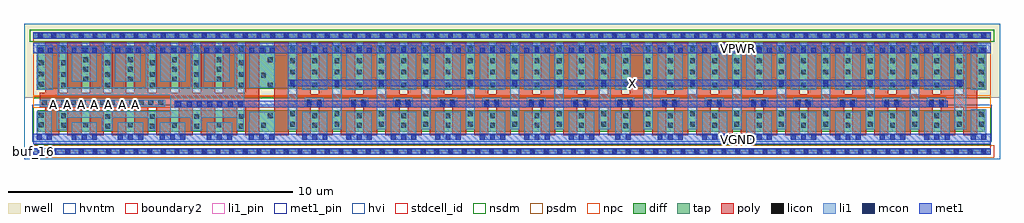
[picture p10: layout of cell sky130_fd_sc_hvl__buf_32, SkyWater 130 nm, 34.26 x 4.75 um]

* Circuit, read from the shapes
.subckt sky130_fd_sc_hvl__buf_32 A VGND VNB VPB VPWR X
XM1 n1 A VGND VNB sky130_fd_pr__nfet_g5v0d10v5 w=0.75 l=0.5 m=10
XM2 X n1 VGND VNB sky130_fd_pr__nfet_g5v0d10v5 w=0.75 l=0.5 m=32
XM3 n1 A VPWR VPB sky130_fd_pr__pfet_g5v0d10v5 w=1.5 l=0.5 m=10
XM4 X n1 VPWR VPB sky130_fd_pr__pfet_g5v0d10v5 w=1.5 l=0.5 m=32
.ends

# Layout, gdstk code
import gdstk
lib = gdstk.Library(unit=1e-6, precision=1e-09)
def R(c, l, rs):  # rectangles x0, y0, x1, y1
    for r in rs: c.add(gdstk.rectangle(r[:2], r[2:], *l))
def A(c, l, x, y, w, h, nx, ny, dx, dy):  # array of equal rectangles
    R(c, l, [(x+i*dx, y+j*dy, x+i*dx+w, y+j*dy+h) for i in range(nx) for j in range(ny)])
def P(c, l, *ps):  # polygons
    for p in ps: c.add(gdstk.Polygon(p, *l))
nwell = (64, 20)
diff = (65, 20)
tap = (65, 44)
poly = (66, 20)
licon = (66, 44)
li1_pin = (67, 16)
li1 = (67, 20)
mcon = (67, 44)
met1_pin = (68, 16)
met1 = (68, 20)
hvi = (75, 20)
stdcell_id = (81, 4)
nsdm = (93, 44)
psdm = (94, 20)
npc = (95, 20)
hvntm = (125, 20)
boundary2 = (236, 0)

sky130_fd_sc_hvl__buf_32 = lib.new_cell('sky130_fd_sc_hvl__buf_32')
R(sky130_fd_sc_hvl__buf_32, nwell, [(-0.33,1.885,33.93,4.485)])
R(sky130_fd_sc_hvl__buf_32, diff, [(0.15,0.705,33.4,1.455), (0.15,2.215,33.4,3.715)])
R(sky130_fd_sc_hvl__buf_32, tap, [(0,-0.085,33.6,0.085), (0,3.985,33.6,4.155)])
P(sky130_fd_sc_hvl__buf_32, poly, [(7.935,3.845),(7.435,3.845),(7.435,2.065),(7.155,2.065),(7.155,3.845),(6.655,3.845),(6.655,2.065),(6.375,2.065),(6.375,3.845),(5.875,3.845),(5.875,2.065),(5.595,2.065),(5.595,3.845),(5.095,3.845),(5.095,2.065),(4.815,2.065),(4.815,3.845),(4.315,3.845),(4.315,2.065),(4.035,2.065),(4.035,3.845),(3.535,3.845),(3.535,2.065),(3.255,2.065),(3.255,3.845),(2.755,3.845),(2.755,2.065),(2.475,2.065),(2.475,3.845),(1.975,3.845),(1.975,2.065),(1.695,2.065),(1.695,3.845),(1.195,3.845),(1.195,2.065),(0.915,2.065),(0.915,3.845),(0.415,3.845),(0.415,2.065),(0.22,2.065),(0.22,1.565),(0.415,1.565),(0.415,0.575),(0.915,0.575),(0.915,1.565),(1.195,1.565),(1.195,0.575),(1.695,0.575),(1.695,1.565),(1.975,1.565),(1.975,0.575),(2.475,0.575),(2.475,1.565),(2.755,1.565),(2.755,0.575),(3.255,0.575),(3.255,1.565),(3.535,1.565),(3.535,0.575),(4.035,0.575),(4.035,1.565),(4.315,1.565),(4.315,0.575),(4.815,0.575),(4.815,1.565),(5.095,1.565),(5.095,0.575),(5.595,0.575),(5.595,1.565),(5.875,1.565),(5.875,0.575),(6.375,0.575),(6.375,1.565),(6.655,1.565),(6.655,0.575),(7.155,0.575),(7.155,1.565),(7.435,1.565),(7.435,0.575),(7.935,0.575)],
  [(33.135,3.845),(32.635,3.845),(32.635,2.005),(32.355,2.005),(32.355,3.845),(31.855,3.845),(31.855,2.005),(31.575,2.005),(31.575,3.845),(31.075,3.845),(31.075,2.005),(30.795,2.005),(30.795,3.845),(30.295,3.845),(30.295,2.005),(30.015,2.005),(30.015,3.845),(29.515,3.845),(29.515,2.005),(29.235,2.005),(29.235,3.845),(28.735,3.845),(28.735,2.005),(28.455,2.005),(28.455,3.845),(27.955,3.845),(27.955,2.005),(27.675,2.005),(27.675,3.845),(27.175,3.845),(27.175,2.005),(26.895,2.005),(26.895,3.845),(26.395,3.845),(26.395,2.005),(26.115,2.005),(26.115,3.845),(25.615,3.845),(25.615,2.005),(25.335,2.005),(25.335,3.845),(24.835,3.845),(24.835,2.005),(24.555,2.005),(24.555,3.845),(24.055,3.845),(24.055,2.005),(23.775,2.005),(23.775,3.845),(23.275,3.845),(23.275,2.005),(22.995,2.005),(22.995,3.845),(22.495,3.845),(22.495,2.005),(22.215,2.005),(22.215,3.845),(21.715,3.845),(21.715,2.005),(21.435,2.005),(21.435,3.845),(20.935,3.845),(20.935,2.005),(20.795,2.005),(20.795,1.565),(20.935,1.565),(20.935,0.575),(21.435,0.575),(21.435,1.565),(21.715,1.565),(21.715,0.575),(22.215,0.575),(22.215,1.565),(22.495,1.565),(22.495,0.575),(22.995,0.575),(22.995,1.565),(23.275,1.565),(23.275,0.575),(23.775,0.575),(23.775,1.565),(24.055,1.565),(24.055,0.575),(24.555,0.575),(24.555,1.565),(24.835,1.565),(24.835,0.575),(25.335,0.575),(25.335,1.565),(25.615,1.565),(25.615,0.575),(26.115,0.575),(26.115,1.565),(26.395,1.565),(26.395,0.575),(26.895,0.575),(26.895,1.565),(27.175,1.565),(27.175,0.575),(27.675,0.575),(27.675,1.565),(27.955,1.565),(27.955,0.575),(28.455,0.575),(28.455,1.565),(28.735,1.565),(28.735,0.575),(29.235,0.575),(29.235,1.565),(29.515,1.565),(29.515,0.575),(30.015,0.575),(30.015,1.565),(30.295,1.565),(30.295,0.575),(30.795,0.575),(30.795,1.565),(31.075,1.565),(31.075,0.575),(31.575,0.575),(31.575,1.565),(31.855,1.565),(31.855,0.575),(32.355,0.575),(32.355,1.565),(32.635,1.565),(32.635,0.575),(33.135,0.575)],
  [(20.795,2.005),(20.655,2.005),(20.655,3.845),(20.155,3.845),(20.155,2.005),(19.875,2.005),(19.875,3.845),(19.375,3.845),(19.375,2.005),(19.095,2.005),(19.095,3.845),(18.595,3.845),(18.595,2.005),(18.315,2.005),(18.315,3.845),(17.815,3.845),(17.815,2.005),(17.535,2.005),(17.535,3.845),(17.035,3.845),(17.035,2.005),(16.755,2.005),(16.755,3.845),(16.255,3.845),(16.255,2.005),(15.975,2.005),(15.975,3.845),(15.475,3.845),(15.475,2.005),(15.195,2.005),(15.195,3.845),(14.695,3.845),(14.695,2.005),(14.415,2.005),(14.415,3.845),(13.915,3.845),(13.915,2.005),(13.635,2.005),(13.635,3.845),(13.135,3.845),(13.135,2.005),(12.855,2.005),(12.855,3.845),(12.355,3.845),(12.355,2.005),(12.075,2.005),(12.075,3.845),(11.575,3.845),(11.575,2.005),(11.295,2.005),(11.295,3.845),(10.795,3.845),(10.795,2.005),(10.515,2.005),(10.515,3.845),(10.015,3.845),(10.015,2.005),(9.735,2.005),(9.735,3.845),(9.235,3.845),(9.235,2.005),(8.955,2.005),(8.955,3.845),(8.455,3.845),(8.455,0.575),(8.955,0.575),(8.955,1.565),(9.235,1.565),(9.235,0.575),(9.735,0.575),(9.735,1.565),(10.015,1.565),(10.015,0.575),(10.515,0.575),(10.515,1.565),(10.795,1.565),(10.795,0.575),(11.295,0.575),(11.295,1.565),(11.575,1.565),(11.575,0.575),(12.075,0.575),(12.075,1.565),(12.355,1.565),(12.355,0.575),(12.855,0.575),(12.855,1.565),(13.135,1.565),(13.135,0.575),(13.635,0.575),(13.635,1.565),(13.915,1.565),(13.915,0.575),(14.415,0.575),(14.415,1.565),(14.695,1.565),(14.695,0.575),(15.195,0.575),(15.195,1.565),(15.475,1.565),(15.475,0.575),(15.975,0.575),(15.975,1.565),(16.255,1.565),(16.255,0.575),(16.755,0.575),(16.755,1.565),(17.035,1.565),(17.035,0.575),(17.535,0.575),(17.535,1.565),(17.815,1.565),(17.815,0.575),(18.315,0.575),(18.315,1.565),(18.595,1.565),(18.595,0.575),(19.095,0.575),(19.095,1.565),(19.375,1.565),(19.375,0.575),(19.875,0.575),(19.875,1.565),(20.155,1.565),(20.155,0.575),(20.655,0.575),(20.655,1.565),(20.795,1.565)])
A(sky130_fd_sc_hvl__buf_32, licon, 0.155, -0.085, 0.17, 0.17, 70, 2, 0.48, 4.07)
A(sky130_fd_sc_hvl__buf_32, licon, 2.53, 0.81, 0.17, 0.17, 4, 2, 1.56, 0.34)
A(sky130_fd_sc_hvl__buf_32, licon, 9.79, 0.835, 0.17, 0.17, 7, 1, 1.56, 0)
A(sky130_fd_sc_hvl__buf_32, licon, 22.27, 0.835, 0.17, 0.17, 7, 1, 1.56, 0)
A(sky130_fd_sc_hvl__buf_32, licon, 0.19, 0.855, 0.17, 0.17, 3, 1, 1.56, 0)
A(sky130_fd_sc_hvl__buf_32, licon, 9.01, 0.87, 0.17, 0.17, 16, 2, 1.56, 0.375)
A(sky130_fd_sc_hvl__buf_32, licon, 8.23, 1.175, 0.17, 0.17, 16, 1, 1.56, 0)
A(sky130_fd_sc_hvl__buf_32, licon, 0.3, 1.645, 0.17, 0.17, 13, 1, 0.34, 0)
A(sky130_fd_sc_hvl__buf_32, licon, 0.97, 2.255, 0.17, 0.17, 5, 2, 1.56, 0.365)
A(sky130_fd_sc_hvl__buf_32, licon, 8.23, 2.255, 0.17, 0.17, 16, 1, 0.78, 0)
A(sky130_fd_sc_hvl__buf_32, licon, 21.49, 2.255, 0.17, 0.17, 15, 2, 0.78, 1.25)
A(sky130_fd_sc_hvl__buf_32, licon, 1.75, 2.465, 0.17, 0.17, 4, 3, 1.56, 0.34)
A(sky130_fd_sc_hvl__buf_32, licon, 9.01, 2.71, 0.17, 0.17, 32, 2, 0.78, 0.4)
A(sky130_fd_sc_hvl__buf_32, licon, 0.97, 3.04, 0.17, 0.17, 5, 2, 1.56, 0.465)
A(sky130_fd_sc_hvl__buf_32, licon, 0.19, 3.485, 0.17, 0.17, 6, 1, 1.56, 0)
A(sky130_fd_sc_hvl__buf_32, licon, 9.01, 3.505, 0.17, 0.17, 15, 1, 0.78, 0)
R(sky130_fd_sc_hvl__buf_32, licon, [(20.71,0.82,20.88,0.99), (0.97,0.835,1.14,1.005), (4.87,0.835,5.04,1.005), (7.99,0.835,8.16,1.005), (6.43,0.855,6.6,1.025), (33.19,0.87,33.36,1.04), (0.97,1.175,1.14,1.345), (0.19,1.195,0.36,1.365), (33.19,1.225,33.36,1.395), (9.6,1.645,9.77,1.815), (9.94,1.645,10.11,1.815), (11.16,1.645,11.33,1.815), (11.5,1.645,11.67,1.815), (12.72,1.645,12.89,1.815), (13.06,1.645,13.23,1.815), (14.28,1.645,14.45,1.815), (14.62,1.645,14.79,1.815), (15.84,1.645,16.01,1.815), (16.18,1.645,16.35,1.815), (17.4,1.645,17.57,1.815), (17.74,1.645,17.91,1.815), (18.96,1.645,19.13,1.815), (19.3,1.645,19.47,1.815), (20.51,1.645,20.68,1.815), (20.85,1.645,21.02,1.815), (22.08,1.645,22.25,1.815), (22.42,1.645,22.59,1.815), (23.64,1.645,23.81,1.815), (23.98,1.645,24.15,1.815), (25.2,1.645,25.37,1.815), (25.54,1.645,25.71,1.815), (26.76,1.645,26.93,1.815), (27.1,1.645,27.27,1.815), (28.32,1.645,28.49,1.815), (28.66,1.645,28.83,1.815), (29.88,1.645,30.05,1.815), (30.22,1.645,30.39,1.815), (31.44,1.645,31.61,1.815), (31.78,1.645,31.95,1.815), (0.19,2.275,0.36,2.445), (20.71,2.275,20.88,2.445), (33.19,2.275,33.36,2.445), (7.99,2.595,8.16,2.765), (0.19,2.64,0.36,2.81), (0.19,3.04,0.36,3.21), (8.23,3.145,8.4,3.315), (20.71,3.485,20.88,3.655), (33.19,3.485,33.36,3.655)])
A(sky130_fd_sc_hvl__buf_32, li1_pin, 0.635, 1.58, 0.17, 0.17, 7, 1, 0.48, 0)
A(sky130_fd_sc_hvl__buf_32, li1, 9.43, 0.425, 0.89, 0.97, 7, 1, 1.56, 0)
A(sky130_fd_sc_hvl__buf_32, li1, 21.91, 0.425, 0.89, 0.97, 7, 1, 1.56, 0)
A(sky130_fd_sc_hvl__buf_32, li1, 8.93, 0.79, 0.33, 2.965, 7, 1, 1.56, 0)
A(sky130_fd_sc_hvl__buf_32, li1, 21.41, 0.79, 0.33, 2.965, 7, 1, 1.56, 0)
A(sky130_fd_sc_hvl__buf_32, li1, 9.52, 1.565, 0.67, 0.33, 7, 1, 1.56, 0)
A(sky130_fd_sc_hvl__buf_32, li1, 22, 1.565, 0.67, 0.33, 7, 1, 1.56, 0)
A(sky130_fd_sc_hvl__buf_32, li1, 9.43, 2.175, 0.89, 1.58, 7, 1, 1.56, 0)
A(sky130_fd_sc_hvl__buf_32, li1, 21.91, 2.175, 0.89, 1.58, 7, 1, 1.56, 0)
R(sky130_fd_sc_hvl__buf_32, li1, [(0,-0.085,33.6,0.085), (1.34,0.415,2.23,1.025), (0.11,0.425,0.645,1.41), (2.96,0.425,3.855,1.025), (4.44,0.425,5.33,1.025), (6.08,0.425,6.975,1.025), (20.43,0.425,20.96,1.395), (32.91,0.425,33.44,1.495), (19.85,0.79,20.26,3.755), (32.33,0.79,32.74,3.755), (20.43,1.565,21.1,1.895), (0.22,1.58,4.63,1.815), (0.11,2.175,0.68,3.755), (20.43,2.175,20.96,3.755), (32.91,2.175,33.44,3.755), (7.58,2.235,8.48,3.675), (1.34,2.445,2.23,3.675), (2.88,2.445,3.77,3.675), (4.46,2.445,5.35,3.675), (6,2.445,6.89,3.675), (0,3.985,33.6,4.155)])
P(sky130_fd_sc_hvl__buf_32, li1, [(7.41,3.755),(7.06,3.755),(7.06,2.265),(5.83,2.265),(5.83,3.755),(5.52,3.755),(5.52,2.265),(4.29,2.265),(4.29,3.755),(3.94,3.755),(3.94,2.265),(2.71,2.265),(2.71,3.755),(2.4,3.755),(2.4,2.265),(1.16,2.265),(1.16,3.755),(0.85,3.755),(0.85,1.985),(4.8,1.985),(4.8,1.41),(0.815,1.41),(0.815,0.755),(1.17,0.755),(1.17,1.195),(2.4,1.195),(2.4,0.73),(2.79,0.73),(2.79,1.195),(4.025,1.195),(4.025,0.73),(4.27,0.73),(4.27,1.195),(5.52,1.195),(5.52,0.73),(5.91,0.73),(5.91,1.195),(7.145,1.195),(7.145,0.73),(7.39,0.73),(7.39,1.195),(7.41,1.195)],
  [(8.48,1.395),(7.58,1.395),(7.58,1.025),(7.56,1.025),(7.56,0.425),(8.48,0.425)])
A(sky130_fd_sc_hvl__buf_32, mcon, 0.155, -0.085, 0.17, 0.17, 70, 2, 0.48, 4.07)
A(sky130_fd_sc_hvl__buf_32, mcon, 1.34, 0.425, 0.17, 0.17, 3, 2, 0.36, 3.05)
A(sky130_fd_sc_hvl__buf_32, mcon, 2.96, 0.425, 0.17, 0.17, 3, 1, 0.36, 0)
A(sky130_fd_sc_hvl__buf_32, mcon, 4.44, 0.425, 0.17, 0.17, 3, 1, 0.36, 0)
A(sky130_fd_sc_hvl__buf_32, mcon, 6.08, 0.425, 0.17, 0.17, 3, 1, 0.36, 0)
A(sky130_fd_sc_hvl__buf_32, mcon, 7.56, 0.425, 0.17, 0.17, 3, 1, 0.36, 0)
A(sky130_fd_sc_hvl__buf_32, mcon, 9.43, 0.425, 0.17, 0.17, 3, 2, 0.36, 3.05)
A(sky130_fd_sc_hvl__buf_32, mcon, 10.99, 0.425, 0.17, 0.17, 3, 2, 0.36, 3.05)
A(sky130_fd_sc_hvl__buf_32, mcon, 12.55, 0.425, 0.17, 0.17, 3, 2, 0.36, 3.05)
A(sky130_fd_sc_hvl__buf_32, mcon, 14.11, 0.425, 0.17, 0.17, 3, 2, 0.36, 3.05)
A(sky130_fd_sc_hvl__buf_32, mcon, 15.67, 0.425, 0.17, 0.17, 3, 2, 0.36, 3.05)
A(sky130_fd_sc_hvl__buf_32, mcon, 17.23, 0.425, 0.17, 0.17, 3, 2, 0.36, 3.05)
A(sky130_fd_sc_hvl__buf_32, mcon, 18.79, 0.425, 0.17, 0.17, 3, 2, 0.36, 3.05)
A(sky130_fd_sc_hvl__buf_32, mcon, 21.91, 0.425, 0.17, 0.17, 3, 2, 0.36, 3.05)
A(sky130_fd_sc_hvl__buf_32, mcon, 23.47, 0.425, 0.17, 0.17, 3, 2, 0.36, 3.05)
A(sky130_fd_sc_hvl__buf_32, mcon, 25.03, 0.425, 0.17, 0.17, 3, 2, 0.36, 3.05)
A(sky130_fd_sc_hvl__buf_32, mcon, 26.59, 0.425, 0.17, 0.17, 3, 2, 0.36, 3.05)
A(sky130_fd_sc_hvl__buf_32, mcon, 28.15, 0.425, 0.17, 0.17, 3, 2, 0.36, 3.05)
A(sky130_fd_sc_hvl__buf_32, mcon, 29.71, 0.425, 0.17, 0.17, 3, 2, 0.36, 3.05)
A(sky130_fd_sc_hvl__buf_32, mcon, 31.27, 0.425, 0.17, 0.17, 3, 2, 0.36, 3.05)
A(sky130_fd_sc_hvl__buf_32, mcon, 5.02, 1.58, 0.17, 0.17, 7, 1, 0.36, 0)
A(sky130_fd_sc_hvl__buf_32, mcon, 9.01, 2.32, 0.17, 0.17, 16, 1, 1.56, 0)
A(sky130_fd_sc_hvl__buf_32, mcon, 2.88, 3.475, 0.17, 0.17, 3, 1, 0.36, 0)
A(sky130_fd_sc_hvl__buf_32, mcon, 4.46, 3.475, 0.17, 0.17, 3, 1, 0.36, 0)
A(sky130_fd_sc_hvl__buf_32, mcon, 6, 3.475, 0.17, 0.17, 3, 1, 0.36, 0)
A(sky130_fd_sc_hvl__buf_32, mcon, 7.58, 3.475, 0.17, 0.17, 3, 1, 0.36, 0)
R(sky130_fd_sc_hvl__buf_32, mcon, [(0.115,0.425,0.285,0.595), (0.475,0.425,0.645,0.595), (20.43,0.425,20.6,0.595), (20.79,0.425,20.96,0.595), (32.91,0.425,33.08,0.595), (33.27,0.425,33.44,0.595), (9.59,1.58,9.76,1.75), (9.95,1.58,10.12,1.75), (11.15,1.58,11.32,1.75), (11.51,1.58,11.68,1.75), (12.71,1.58,12.88,1.75), (13.07,1.58,13.24,1.75), (14.27,1.58,14.44,1.75), (14.63,1.58,14.8,1.75), (15.83,1.58,16,1.75), (16.19,1.58,16.36,1.75), (17.39,1.58,17.56,1.75), (17.75,1.58,17.92,1.75), (18.95,1.58,19.12,1.75), (19.31,1.58,19.48,1.75), (20.5,1.58,20.67,1.75), (20.86,1.58,21.03,1.75), (22.07,1.58,22.24,1.75), (22.43,1.58,22.6,1.75), (23.63,1.58,23.8,1.75), (23.99,1.58,24.16,1.75), (25.19,1.58,25.36,1.75), (25.55,1.58,25.72,1.75), (26.75,1.58,26.92,1.75), (27.11,1.58,27.28,1.75), (28.31,1.58,28.48,1.75), (28.67,1.58,28.84,1.75), (29.87,1.58,30.04,1.75), (30.23,1.58,30.4,1.75), (31.43,1.58,31.6,1.75), (31.79,1.58,31.96,1.75), (0.15,3.475,0.32,3.645), (0.51,3.475,0.68,3.645), (20.43,3.475,20.6,3.645), (20.79,3.475,20.96,3.645), (32.91,3.475,33.08,3.645), (33.27,3.475,33.44,3.645)])
R(sky130_fd_sc_hvl__buf_32, met1_pin, [(0,0,33.6,0.115), (0,0,33.6,0.115), (0,0.255,33.6,0.625), (8.95,2.29,32.64,2.52), (0,3.445,33.6,3.815), (0,3.955,33.6,4.07), (0,3.955,33.6,4.07)])
R(sky130_fd_sc_hvl__buf_32, met1, [(0,-0.115,33.6,0.115), (0,0.255,33.6,0.625), (4.96,1.55,32.09,1.78), (8.95,2.29,32.64,2.52), (0,3.445,33.6,3.815), (0,3.955,33.6,4.185)])
R(sky130_fd_sc_hvl__buf_32, hvi, [(-0.33,-0.265,33.93,4.485)])
R(sky130_fd_sc_hvl__buf_32, stdcell_id, [(0,0,33.6,4.07)])
R(sky130_fd_sc_hvl__buf_32, nsdm, [(0,0.215,33.6,1.885), (-0.13,3.855,33.73,4.285), (0,3.855,33.6,4.07)])
R(sky130_fd_sc_hvl__buf_32, psdm, [(-0.13,-0.215,33.73,0.215)])
P(sky130_fd_sc_hvl__buf_32, psdm, [(33.6,3.855),(0,3.855),(0,1.925),(32.06,1.925),(32.06,1.885),(33.6,1.885)])
R(sky130_fd_sc_hvl__buf_32, npc, [(0,1.545,33.6,1.97)])
R(sky130_fd_sc_hvl__buf_32, hvntm, [(-0.035,0.35,33.635,1.64)])
R(sky130_fd_sc_hvl__buf_32, boundary2, [(0,0,33.6,4.07)])
sky130_fd_sc_hvl__buf_32.add(gdstk.Label('buf_16', (0,0), layer=83, texttype=44))
sky130_fd_sc_hvl__buf_32.add(gdstk.Label('VGND', (24.765,0.44), layer=68, texttype=5))
sky130_fd_sc_hvl__buf_32.add(gdstk.Label('VNB', (24.765,0.058), layer=68, texttype=5))
sky130_fd_sc_hvl__buf_32.add(gdstk.Label('X', (21.04,2.405), layer=68, texttype=5))
sky130_fd_sc_hvl__buf_32.add(gdstk.Label('VNB', (25.245,0.058), layer=68, texttype=5))
sky130_fd_sc_hvl__buf_32.add(gdstk.Label('VPWR', (24.765,3.63), layer=68, texttype=5))
sky130_fd_sc_hvl__buf_32.add(gdstk.Label('VPB', (24.765,4.013), layer=68, texttype=5))
sky130_fd_sc_hvl__buf_32.add(gdstk.Label('VPB', (25.245,4.013), layer=68, texttype=5))
sky130_fd_sc_hvl__buf_32.add(gdstk.Label('A', (0.72,1.665), layer=67, texttype=5))
sky130_fd_sc_hvl__buf_32.add(gdstk.Label('A', (1.2,1.665), layer=67, texttype=5))
sky130_fd_sc_hvl__buf_32.add(gdstk.Label('A', (1.68,1.665), layer=67, texttype=5))
sky130_fd_sc_hvl__buf_32.add(gdstk.Label('A', (2.16,1.665), layer=67, texttype=5))
sky130_fd_sc_hvl__buf_32.add(gdstk.Label('A', (2.64,1.665), layer=67, texttype=5))
sky130_fd_sc_hvl__buf_32.add(gdstk.Label('A', (3.12,1.665), layer=67, texttype=5))
sky130_fd_sc_hvl__buf_32.add(gdstk.Label('A', (3.6,1.665), layer=67, texttype=5))

lib.write_gds('sky130_fd_sc_hvl__buf_32.gds')
